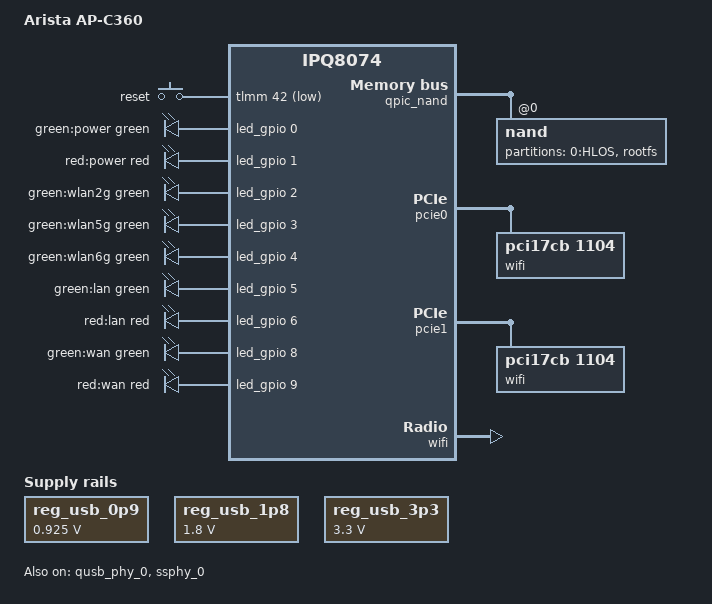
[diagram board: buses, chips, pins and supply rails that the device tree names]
// SPDX-License-Identifier: GPL-2.0-or-later OR MIT

/dts-v1/;

#include "ipq8076-arista.dtsi"

/ {
	model = "Arista AP-C360";
	compatible = "arista,c360", "qcom,ipq8074";

	keys {
		compatible = "gpio-keys";

		reset {
			label = "reset";
			gpios = <&tlmm 42 GPIO_ACTIVE_LOW>;
			linux,code = <KEY_RESTART>;
			debounce-interval = <60>;
		};
	};

	leds {
		compatible = "gpio-leds";

		led_power_green: power-green {
			label = "green:power";
			color = <LED_COLOR_ID_GREEN>;
			function = LED_FUNCTION_POWER;
			gpios = <&led_gpio 0 GPIO_ACTIVE_HIGH>;
			default-state = "on";
		};

		led_power_red: power-red {
			label = "red:power";
			color = <LED_COLOR_ID_RED>;
			function = LED_FUNCTION_POWER;
			gpios = <&led_gpio 1 GPIO_ACTIVE_HIGH>;
			default-state = "off";
		};

		led_wlan2g_green: wlan2g-green {
			label = "green:wlan2g";
			color = <LED_COLOR_ID_GREEN>;
			function = LED_FUNCTION_WLAN_2GHZ;
			gpios = <&led_gpio 2 GPIO_ACTIVE_HIGH>;
			default-state = "off";
		};

		led_wlan5g_green: wlan5g-green {
			label = "green:wlan5g";
			color = <LED_COLOR_ID_GREEN>;
			function = LED_FUNCTION_WLAN_5GHZ;
			gpios = <&led_gpio 3 GPIO_ACTIVE_HIGH>;
			default-state = "off";
		};

		led_wlan6g_green: wlan6g-green {
			label = "green:wlan6g";
			color = <LED_COLOR_ID_GREEN>;
			function = LED_FUNCTION_WLAN_6GHZ;
			gpios = <&led_gpio 4 GPIO_ACTIVE_HIGH>;
			default-state = "off";
		};

		led_lan_green: lan-green {
			label = "green:lan";
			color = <LED_COLOR_ID_GREEN>;
			function = LED_FUNCTION_LAN;
			gpios = <&led_gpio 5 GPIO_ACTIVE_HIGH>;
			default-state = "off";
		};

		led_lan_red: lan-red {
			label = "red:lan";
			color = <LED_COLOR_ID_RED>;
			function = LED_FUNCTION_LAN;
			gpios = <&led_gpio 6 GPIO_ACTIVE_HIGH>;
			default-state = "off";
		};

		led_wan_green: wan-green {
			label = "green:wan";
			color = <LED_COLOR_ID_GREEN>;
			function = LED_FUNCTION_WAN;
			gpios = <&led_gpio 8 GPIO_ACTIVE_HIGH>;
			default-state = "off";
		};

		led_wan_red: wan-red {
			label = "red:wan";
			color = <LED_COLOR_ID_RED>;
			function = LED_FUNCTION_WAN;
			gpios = <&led_gpio 9 GPIO_ACTIVE_HIGH>;
			default-state = "off";
		};
	};

	reg_usb_0p9: regulator-usb-0p9 {
		compatible = "regulator-fixed";
		regulator-name = "usb_0p9";
		regulator-min-microvolt = <925000>;
		regulator-max-microvolt = <925000>;
		regulator-always-on;
	};

	reg_usb_1p8: regulator-usb-1p8 {
		compatible = "regulator-fixed";
		regulator-name = "usb_1p8";
		regulator-min-microvolt = <1800000>;
		regulator-max-microvolt = <1800000>;
		regulator-always-on;
	};

	reg_usb_3p3: regulator-usb-3p3 {
		compatible = "regulator-fixed";
		regulator-name = "usb_3p3";
		regulator-min-microvolt = <3300000>;
		regulator-max-microvolt = <3300000>;
		regulator-always-on;
	};
};

&flash_partitions {
	partition@690000 {
		label = "0:ART";
		reg = <0x690000 0x100000>;
		read-only;

		nvmem-layout {
			compatible = "fixed-layout";
			#address-cells = <1>;
			#size-cells = <1>;

			macaddr_lan: macaddr@0 {
				compatible = "mac-base";
				reg = <0x0 0x6>;
			};

			macaddr_wan: macaddr@6 {
				compatible = "mac-base";
				reg = <0x6 0x6>;
			};
		};
	};

	partition@790000 {
		label = "0:ETHPHYFW";
		reg = <0x790000 0x80000>;
		read-only;
	};

	partition@810000 {
		label = "HLOS_BAK";
		reg = <0x810000 0x1000000>;
	};

	partition@1810000 {
		label = "CONFIG";
		reg = <0x1810000 0x400000>;
	};

	partition@1c10000 {
		label = "DEVCERT";
		reg = <0x1c10000 0x20000>;
	};

	partition@1c30000 {
		label = "RESERVED1";
		reg = <0x1c30000 0x20000>;
	};

	partition@1c50000 {
		label = "RESERVED2";
		reg = <0x1c50000 0x3b0000>;
	};
};

&qpic_nand {
	status = "okay";

	nand@0 {
		reg = <0>;
		nand-ecc-strength = <8>;
		nand-ecc-step-size = <512>;
		nand-bus-width = <8>;

		partitions {
			compatible = "fixed-partitions";
			#address-cells = <1>;
			#size-cells = <1>;

			partition@0 {
				label = "0:HLOS";
				reg = <0x0 0x1000000>;
			};

			partition@1000000 {
				label = "rootfs";
				reg = <0x1000000 0x3f000000>;
			};
		};
	};
};

&qusb_phy_0 {
	status = "okay";
	vdd-supply = <&reg_usb_0p9>;
	vdda-pll-supply = <&reg_usb_1p8>;
	vdda-phy-dpdm-supply = <&reg_usb_3p3>;
};

&ssphy_0 {
	status = "okay";
	vdda-phy-supply = <&reg_usb_0p9>;
	vdda-pll-supply = <&reg_usb_1p8>;
};

&pcie0 {
	status = "okay";
	perst-gpio = <&tlmm 58 GPIO_ACTIVE_LOW>;

	pcie@0 {
		wifi@0,0 {
			status = "okay";
			compatible = "pci17cb,1104";
			qcom,ath11k-fw-memory-mode = <1>;
			qcom,ath11k-calibration-variant = "Arista-C360-9074";
			reg = <0x00010000 0 0 0 0>;
		};
	};
};

&pcie1 {
	status = "okay";
	perst-gpio = <&tlmm 61 GPIO_ACTIVE_LOW>;

	pcie@0 {
		wifi@0,0 {
			status = "okay";
			compatible = "pci17cb,1104";
			qcom,ath11k-fw-memory-mode = <1>;
			qcom,ath11k-calibration-variant = "Arista-C360-9072";
			reg = <0x00010000 0 0 0 0>;
		};
	};
};

&wifi {
	status = "okay";
	qcom,ath11k-fw-memory-mode = <1>;
	qcom,ath11k-calibration-variant = "Arista-C360";
};
